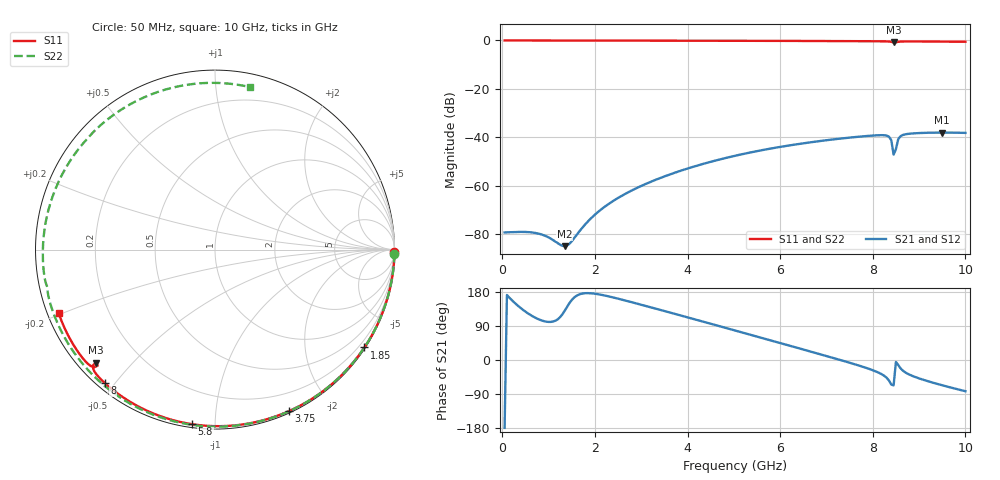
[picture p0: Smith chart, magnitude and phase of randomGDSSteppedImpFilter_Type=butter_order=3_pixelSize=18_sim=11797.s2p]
! freq	dB(S11)	phase(S11)	dB(S12)	phase(S12)
!  dB(S21)	phase(S21)	dB(S22)	phase(S22)
!S-par simulation data
#  GHz  S  DB  R 50
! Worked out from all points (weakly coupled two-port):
!   200 points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, 50 MHz to 10 GHz, reference 50 ohm
!   highest |S21| = -37.99 dB at 9.5 GHz (marker M1); lowest = -84.8 dB at 1.35 GHz (marker M2)
!   lowest |S11| = -0.8 dB at 8.45 GHz (marker M3), VSWR 22.39, Z = 2.59 - j19.9 ohm
!   |S11| at or under -10 dB: nowhere
!   |S22| runs from -0.7 to 0.0 dB; largest |S21 - S12| = 0
!   S11 on the Smith chart (normalised r, x): 50 MHz: open; 1.85 GHz: 0.03, -3.35; 3.75 GHz: 0.02, -1.56; 5.8 GHz: 0.02, -0.88; 8 GHz: 0.02, -0.47; 10 GHz: 0.03, -0.19
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0.05  -0.00 -0.9  -79.17 -179.2  -79.17 -179.2  -0.00 -1.4
0.7  -0.01 -12.7  -79.32 112.3  -79.32 112.3  -0.02 -18.8
1.35  -0.03 -24.4  -84.82 130.4  -84.82 130.4  -0.05 -36.0
1.6  -0.04 -28.8  -80.33 169.3  -80.33 169.3  -0.05 -42.5
1.75  -0.04 -31.5  -76.71 175.7  -76.71 175.7  -0.06 -46.4
1.85  -0.04 -33.2  -74.59 176.5  -74.59 176.5  -0.06 -49.0
2.5  -0.06 -44.5  -64.93 161.9  -64.93 161.9  -0.08 -65.5
3.4  -0.08 -59.7  -56.79 132.6  -56.79 132.6  -0.12 -87.9
3.75  -0.09 -65.4  -54.37 121.0  -54.37 121.0  -0.13 -96.5
5.05  -0.13 -86.0  -47.45 77.1  -47.45 77.1  -0.20 -127.9
5.8  -0.17 -97.4  -44.56 51.6  -44.56 51.6  -0.25 -146.4
6.7  -0.22 -110.7  -41.88 20.8  -41.88 20.8  -0.34 -169.4
7.35  -0.26 -120.2  -40.36 -1.7  -40.36 -1.7  -0.39 172.3
8  -0.32 -129.7  -39.21 -27.0  -39.21 -27.0  -0.46 152.5
8.35  -0.45 -135.6  -39.67 -54.1  -39.67 -54.1  -0.51 141.1
8.4  -0.57 -136.5  -41.15 -64.9  -41.15 -64.9  -0.51 139.4
8.45  -0.78 -136.5  -47.08 -66.8  -47.08 -66.8  -0.52 137.8
8.5  -0.73 -135.3  -44.80 -5.1  -44.80 -5.1  -0.51 136.1
8.55  -0.55 -135.7  -40.67 -13.2  -40.67 -13.2  -0.52 134.3
8.65  -0.44 -137.6  -38.97 -28.1  -38.97 -28.1  -0.53 130.8
9.5  -0.47 -150.5  -37.99 -66.7  -37.99 -66.7  -0.62 98.6
10  -0.54 -157.9  -38.11 -82.3  -38.11 -82.3  -0.67 77.9
